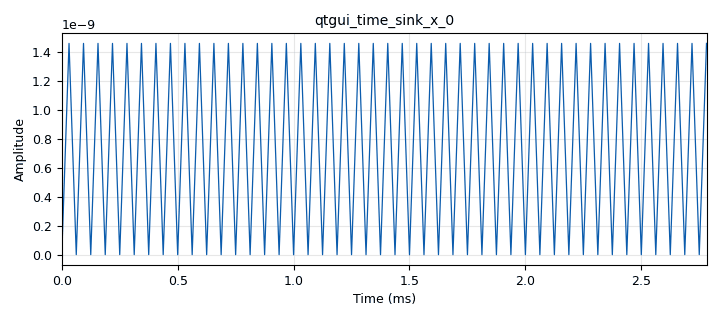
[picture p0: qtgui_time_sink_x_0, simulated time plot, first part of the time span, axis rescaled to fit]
options:
  parameters:
    author: zoe
    generate_options: qt_gui
    id: lab2_3
    output_language: python
    title: Not titled yet
  states: {}

blocks:
- name: frequency
  id: variable
  parameters:
    value: '8000'
  states: {}
- name: samp_rate
  id: variable
  parameters:
    value: '32000'
  states: {}
- name: analog_sig_source_x_0_0
  id: analog_sig_source_x
  parameters:
    amp: '2'
    freq: frequency
    offset: '0'
    phase: '0'
    samp_rate: samp_rate
    type: float
    waveform: analog.GR_COS_WAVE
  states: {}
- name: analog_sig_source_x_0_0_0
  id: analog_sig_source_x
  parameters:
    amp: '2'
    freq: frequency
    offset: '0'
    phase: '0'
    samp_rate: samp_rate
    type: float
    waveform: analog.GR_COS_WAVE
  states: {}
- name: blocks_add_xx_0
  id: blocks_add_xx
  parameters:
    type: float
  states: {}
- name: blocks_delay_0
  id: blocks_delay
  parameters:
    delay: '2'
    type: float
  states: {}
- name: blocks_throttle_0
  id: blocks_throttle
  parameters:
    samples_per_second: samp_rate
    type: float
  states: {}
- name: qtgui_time_sink_x_0
  id: qtgui_time_sink_x
  parameters:
    size: '1024'
    srate: samp_rate
    type: float
  states: {}

connections:
- [analog_sig_source_x_0_0, '0', blocks_delay_0, '0']
- [analog_sig_source_x_0_0_0, '0', blocks_add_xx_0, '0']
- [blocks_add_xx_0, '0', blocks_throttle_0, '0']
- [blocks_delay_0, '0', blocks_add_xx_0, '1']
- [blocks_throttle_0, '0', qtgui_time_sink_x_0, '0']

metadata:
  file_format: 1
  grc_version: 3.10.5.1
